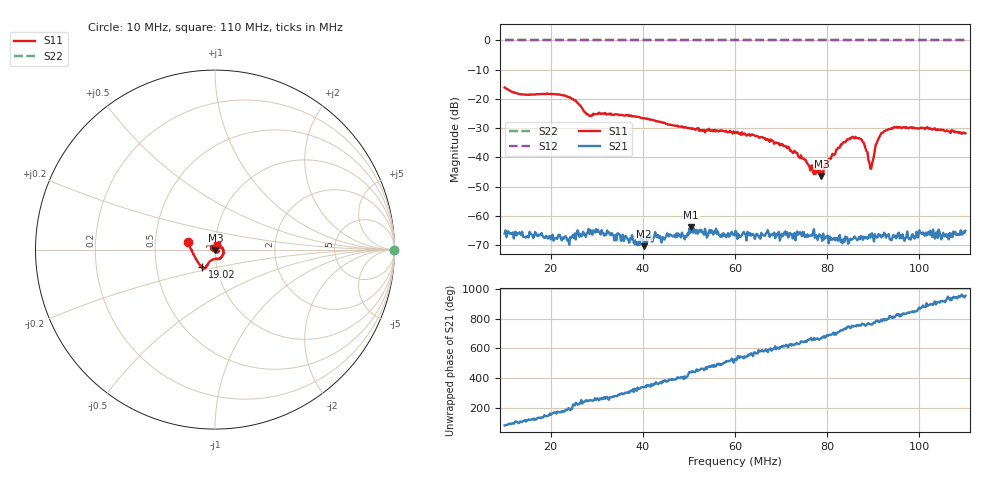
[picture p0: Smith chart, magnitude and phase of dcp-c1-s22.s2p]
! Anritsu VNA Master:  Model: MS2034B/10/19/501
! SN:  1337062
! /bd0/ovro-jan-2016/dcp-c1-s22.s2p
! Existing Calibration Information:
! TYPE:  Current Settings,  Active Cal Settings
! TIME:  01/10/2016 05:24:46 PM,  01/10/2016 03:13:30 PM
! INTERNAL TEMP:  41.8 C,  45.8 C
! # POINTS:  500,  500
! START FREQ:  10.000 MHz,  10.000 MHz
! STOP FREQ:  110.000 MHz,  110.000 MHz
! SOURCE POWER:  Low,  Low
! IFBW:  100 Hz,  100 Hz
! AVG FACTOR:  3 ,  3
! REF PLANE 1:  2.2245 m,  2.2245 m
! REF PLANE 2:  0 mm,  0 mm
! CAL TYPE:  1P2P S11,S21,  1P2P S11,S21
! CAL METHOD:  SOLT,  SOLT
! CAL LINE TYPE:  Coax,  Coax
! DUT PORT 1:  K-Conn(M),  K-Conn(M)
! DUT PORT 2:  N-Conn(M),  N-Conn(M)
! CAL STATUS:  OK: Accuracy High,  --
# GHZ S DB R 50.0
! FREQ.GHZ  S11DB  S11A  S21DB  S21A  S12DB  S12A  S22DB  S22A
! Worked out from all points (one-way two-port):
!   500 points, 10 MHz to 110 MHz, reference 50 ohm
!   highest |S21| = -63.95 dB at 50.48 MHz (marker M1); lowest = -70.4 dB at 40.26 MHz (marker M2)
!   lowest |S11| = -46.4 dB at 78.74 MHz (marker M3), VSWR 1.01, Z = 50.2 - j0.429 ohm
!   |S11| at or under -10 dB: start of sweep to end of sweep
!   |S22| runs from 0.0 to 0.0 dB; largest |S21 - S12| = 1
!   S11 on the Smith chart (normalised r, x): 10 MHz: 0.73, +0.06; 19.02 MHz: 0.85, -0.17; 110 MHz: 1.02, +0.05
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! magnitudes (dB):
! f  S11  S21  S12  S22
! 10 MHz  -16.1  -66.1  0.0  0.0
! 13.41 MHz  -18.4  -66.3  0.0  0.0
! 19.02 MHz  -18.3  -66.9  0.0  0.0
! 23.83 MHz  -19.3  -68.2  0.0  0.0
! 26.83 MHz  -23.2  -66.7  0.0  0.0
! 28.64 MHz  -25.9  -65.0  0.0  0.0
! 38.46 MHz  -26.0  -68.4  0.0  0.0
! 40.26 MHz  -26.6  -70.4  0.0  0.0
! 43.47 MHz  -27.8  -67.6  0.0  0.0
! 49.08 MHz  -29.8  -68.1  0.0  0.0
! 50.48 MHz  -30.0  -64.0  0.0  0.0
! 60.1 MHz  -31.3  -65.1  0.0  0.0
! 71.32 MHz  -36.9  -65.7  0.0  0.0
! 76.73 MHz  -42.7  -66.8  0.0  0.0
! 78.74 MHz  -46.4  -67.2  0.0  0.0
! 82.55 MHz  -36.7  -67.1  0.0  0.0
! 85.35 MHz  -33.0  -68.2  0.0  0.0
! 87.56 MHz  -34.1  -67.2  0.0  0.0
! 89.56 MHz  -43.9  -66.3  0.0  0.0
! 91.36 MHz  -32.9  -66.9  0.0  0.0
! 93.37 MHz  -30.3  -66.3  0.0  0.0
! 110 MHz  -31.8  -65.2  0.0  0.0
